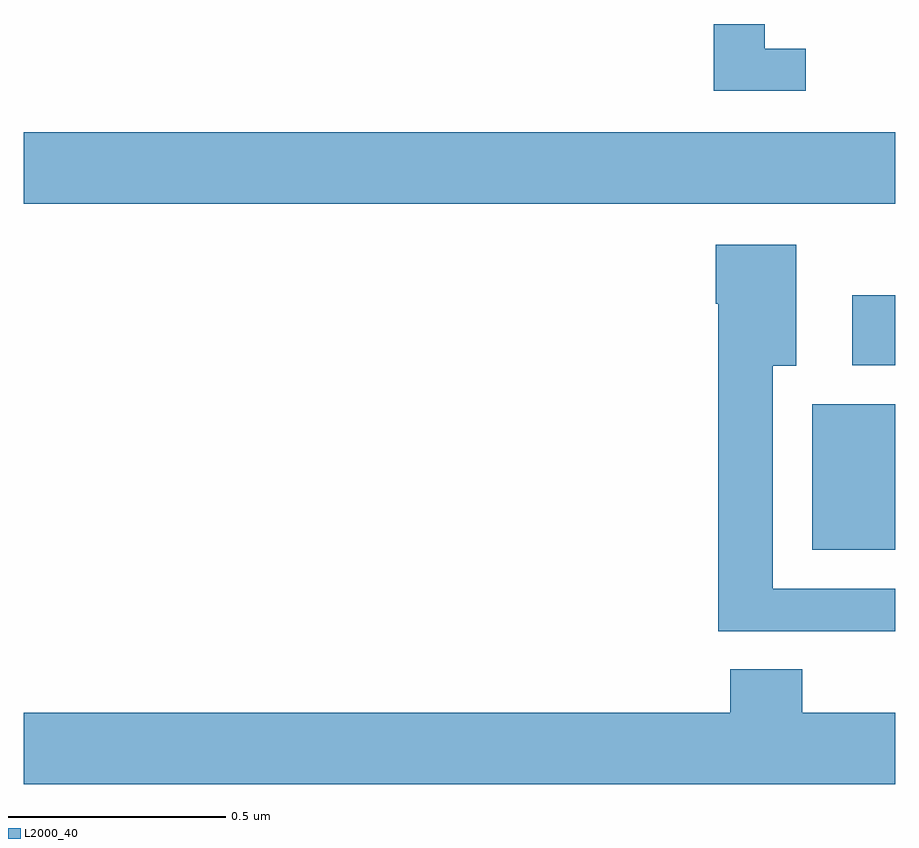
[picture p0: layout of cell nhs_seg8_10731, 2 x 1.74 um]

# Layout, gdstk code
import gdstk
lib = gdstk.Library(unit=1e-6, precision=1e-09)
def R(c, l, rs):  # rectangles x0, y0, x1, y1
    for r in rs: c.add(gdstk.rectangle(r[:2], r[2:], *l))
def P(c, l, *ps):  # polygons
    for p in ps: c.add(gdstk.Polygon(p, *l))
L2000_40 = (2000, 40)

nhs_seg8_10731 = lib.new_cell('nhs_seg8_10731')
R(nhs_seg8_10731, L2000_40, [(254.81,1127.693,255,1128.028), (254.901,1128.117,255,1128.277), (253,1128.488,255,1128.652)])
P(nhs_seg8_10731, L2000_40, [(254.794,1128.843),(254.7,1128.843),(254.7,1128.9),(254.584,1128.9),(254.584,1128.747),(254.794,1128.747)],
  [(255,1127.604),(254.719,1127.604),(254.719,1128.116),(254.773,1128.116),(254.773,1128.394),(254.588,1128.394),(254.588,1128.258),(254.594,1128.258),(254.594,1127.507),(255,1127.507)],
  [(255,1127.32),(254.786,1127.32),(254.786,1127.419),(254.621,1127.419),(254.621,1127.32),(253,1127.32),(253,1127.156),(255,1127.156)])

lib.write_gds('nhs_seg8_10731.gds')
